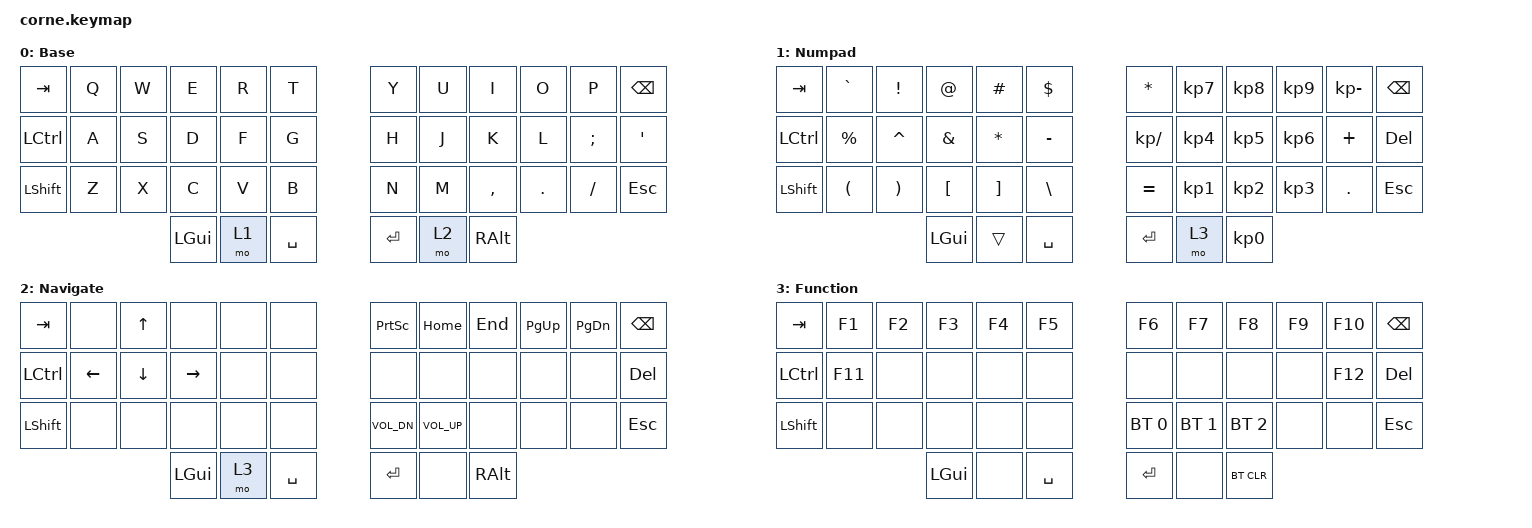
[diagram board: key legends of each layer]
/*
 * Copyright (c) 2020 The ZMK Contributors
 *
 * SPDX-License-Identifier: MIT
 */

#include <behaviors.dtsi>
#include <dt-bindings/zmk/bt.h>
#include <dt-bindings/zmk/keys.h>

/ {
    keymap {
        compatible = "zmk,keymap";

        default_layer {
            // -----------------------------------------------------------------------------------------
            // |  TAB |  Q  |  W  |  E  |  R  |  T  |   |  Y  |  U   |  I  |  O  |  P  | BKSP |
            // | CTRL |  A  |  S  |  D  |  F  |  G  |   |  H  |  J   |  K  |  L  |  ;  |  '   |
            // | SHFT |  Z  |  X  |  C  |  V  |  B  |   |  N  |  M   |  ,  |  .  |  /  | ESC  |
            //                    | GUI | LWR | SPC |   | ENT | RSE  | ALT |

            display-name = "Base";
            bindings = <
&kp TAB    &kp Q  &kp W  &kp E     &kp R  &kp T        &kp Y    &kp U  &kp I      &kp O    &kp P     &kp BSPC
&kp LCTRL  &kp A  &kp S  &kp D     &kp F  &kp G        &kp H    &kp J  &kp K      &kp L    &kp SEMI  &kp SQT
&kp LSHFT  &kp Z  &kp X  &kp C     &kp V  &kp B        &kp N    &kp M  &kp COMMA  &kp DOT  &kp FSLH  &kp ESC
                         &kp LGUI  &mo 1  &kp SPACE    &kp RET  &mo 2  &kp RALT
            >;
        };

        lower_layer {
            // -----------------------------------------------------------------------------------------
            // |  TAB |  ~  |  !  |  @  |  #  |  $  |   |  *  |  7  |  8  |  9  |  -  | BKSP |
            // | CTRL |  %  |  ^  |  &  |  *  |  -  |   |  /  |  4  |  5  |  6  |  +  | DEL  |
            // | SHFT |  (  |  )  |  [  |  ]  |  \  |   |  =  |  1  |  2  |  3  |  .  | ESC  |
            //                    | GUI | ___ | SPC |   | ENT | (3) |  0  |

            display-name = "Numpad";
            bindings = <
&kp TAB    &kp GRAVE             &kp EXCLAMATION        &kp AT         &kp HASH   &kp DOLLAR    &kp ASTRK      &kp KP_NUMBER_7  &kp KP_NUMBER_8  &kp KP_NUMBER_9  &kp KP_MINUS  &kp BSPC
&kp LCTRL  &kp PERCENT           &kp CARET              &kp AMPERSAND  &kp ASTRK  &kp MINUS     &kp KP_DIVIDE  &kp KP_NUMBER_4  &kp KP_NUMBER_5  &kp KP_NUMBER_6  &kp PLUS      &kp DEL
&kp LSHFT  &kp LEFT_PARENTHESIS  &kp RIGHT_PARENTHESIS  &kp LBKT       &kp RBKT   &kp BSLH      &kp EQUAL      &kp KP_NUMBER_1  &kp KP_NUMBER_2  &kp KP_NUMBER_3  &kp PERIOD    &kp ESC
                                                        &kp LGUI       &trans     &kp SPACE     &kp RET        &mo 3            &kp KP_NUMBER_0
            >;
        };

        raise_layer {
            // -----------------------------------------------------------------------------------------
            // |  TAB |     | Up  |     |     |     |   | Prt | Hom | End | Pup | PDn | BKSP |
            // | CTRL |Left | Dn  |Rght |     |     |   |     |     |     |     |     | DEL  |
            // | SHFT |     |     |     |     |     |   |     |     |     |     |     | ESC  |
            //                    | GUI | (3) | SPC |   | ENT | ___ | ALT |

            display-name = "Navigate";
            bindings = <
&kp TAB    &none     &kp UP_ARROW  &none      &none  &none        &kp PRINTSCREEN  &kp HOME      &kp END   &kp PG_UP  &kp PG_DN  &kp BSPC
&kp LCTRL  &kp LEFT  &kp DOWN      &kp RIGHT  &none  &none        &none            &none         &none     &none      &none      &kp DEL
&kp LSHFT  &none     &none         &none      &none  &none        &kp C_VOL_DN     &kp C_VOL_UP  &none     &none      &none      &kp ESC
                                   &kp LGUI   &mo 3  &kp SPACE    &kp RET          &none         &kp RALT
            >;
        };

        both_layer {
            // -----------------------------------------------------------------------------------------
            // |  TAB | F1  | F2  | F3  | F4  | F5  |     | F6  | F7  | F8  | F9  | F10 | BKSP |
            // | CTRL | F11 |     |     |     |     |     |     |     |     |     | F12 | DEL  |
            // | SHFT |     |     |     |     |     |     |Vol+ |Vol- |     |     |     | ESC  |
            //                    | GUI | ___ | SPC |     | ENT | ___ | ALT |

            display-name = "Function";
            bindings = <
&kp TAB    &kp F1   &kp F2  &kp F3    &kp F4  &kp F5       &kp F6        &kp F7        &kp F8        &kp F9  &kp F10  &kp BSPC
&kp LCTRL  &kp F11  &none   &none     &none   &none        &none         &none         &none         &none   &kp F12  &kp DEL
&kp LSHFT  &none    &none   &none     &none   &none        &bt BT_SEL 0  &bt BT_SEL 1  &bt BT_SEL 2  &none   &none    &kp ESC
                            &kp LGUI  &none   &kp SPACE    &kp RET       &none         &bt BT_CLR
            >;
        };
    };
};
